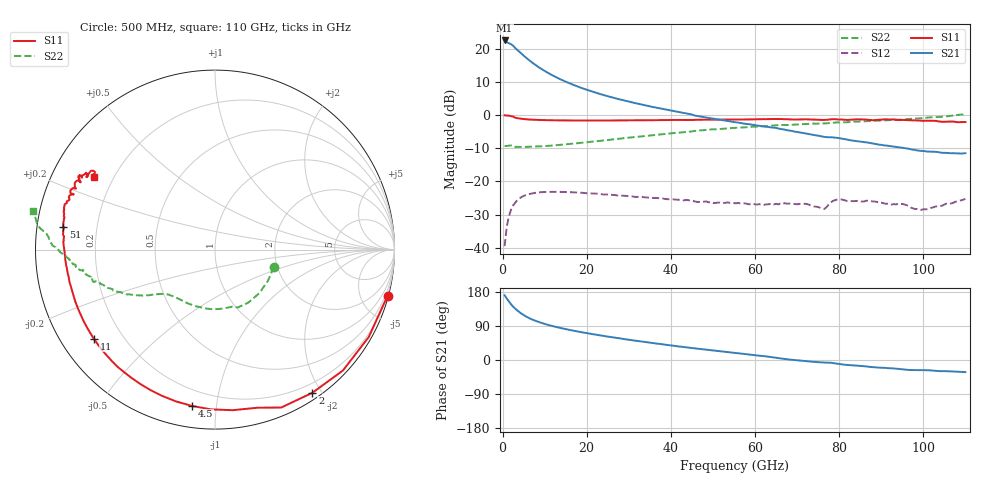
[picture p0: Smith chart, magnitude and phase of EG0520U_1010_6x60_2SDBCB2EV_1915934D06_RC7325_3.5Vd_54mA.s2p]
!File name = EG0520U_1010_6x60_2SDBCB2EV_1915934D06_RC7325_3.5Vd_54mA.s2p
!Base file name = EG0520U_1010_6x60_2SDBCB2EV_1915934D06_RC7325
!Date = 8/23/2019
!Time = 1:10 PM
!Test duration(min) = 0.15
!Test = S-Parameters
!MPTS version = 8.91.5
!State File = C:\Data\PNA\20190821205423\S-Parameters_2019-08-23.sta
!Cal File =
!ComputerName = CMPE-LAB-6
!Comments =
!Attenuation = 0
!Z0 = 50
!Input Power(dBm) = -13.00
!Device ID = EG0520U_1010_6x60_2SDBCB2EV
!Row = 73
!Column = 25
!Technology = QPHT09
!Lot/Wafer = 1915934D06
!Gate Size = 360
!Mask = EG0520
!Cal Standards = GaAs BCB
!Cal Kit = EG2306
!Job Number = 20190821205423
!Device Type = FET
!set_Vg(v) = -1.500
!set_Vd(v) = 3.500
!set_Vd(mA) = 54.000
!file_name = EG0520U_1010_6x60_2SDBCB2EV_1915934D06_RC7325_3.5Vd_54mA.s2p
!Vd(V) = 3.500
!Vd(mA) = 54.222
!Vg(V) = -0.468
!Vg(mA) = -0.001
# GHz  S  DB  R  50
!%	Freq(GHz)  s11(dB)  s11(deg)  s21(dB)  s21(deg)  s12(dB)  s12(deg)  s22(dB)  s22(deg)
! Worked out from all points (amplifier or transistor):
!   220 points, 500 MHz to 110 GHz, reference 50 ohm
!   highest |S21| = 22.5 dB at 500 MHz (marker M1)
!   |S21| within 3 dB of that: start of sweep to 3.643 GHz
!   unconditionally stable (mu >= 1): 31.8 GHz to 104.6 GHz
!   at 18.5 GHz: K = 0.55, MSG = 15.9 dB, |S12| = -23.4 dB
!   at 55.5 GHz: K = 1.60, MAG = 7.7 dB, |S12| = -26.6 dB
!   at 110 GHz: K = -1.72, MSG = 6.9 dB, |S12| = -25.3 dB
!   S11 on the Smith chart (normalised r, x): 500 MHz: 0.15, -7.59; 2 GHz: 0.08, -1.89; 4.5 GHz: 0.11, -0.86; 11 GHz: 0.10, -0.33; 51 GHz: 0.08, +0.07; 110 GHz: 0.13, +0.27
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0.5  -0.04 -15.0  22.51 170.8  -39.52 81.2  -9.31 -16.1
1  -0.13 -29.6  22.04 162.3  -33.75 73.5  -9.31 -30.7
2  -0.31 -55.8  21.41 147.4  -28.62 59.2  -9.15 -57.9
2.5  -0.41 -67.3  20.95 141.0  -27.25 53.4  -9.20 -68.6
3  -0.80 -74.9  20.25 135.9  -26.45 49.0  -9.57 -73.0
3.5  -0.91 -83.7  19.68 130.8  -25.71 44.6  -9.58 -81.0
4.5  -1.11 -98.4  18.53 122.2  -24.73 37.3  -9.57 -94.3
5.5  -1.24 -109.9  17.43 115.3  -24.13 31.7  -9.58 -104.3
7  -1.38 -122.9  15.89 107.1  -23.62 25.3  -9.51 -114.9
9  -1.47 -134.9  14.12 98.9  -23.25 19.4  -9.41 -123.5
11  -1.53 -143.7  12.60 92.1  -23.14 15.0  -9.26 -129.4
14.5  -1.60 -154.2  10.37 82.7  -23.18 9.8  -8.88 -135.7
19  -1.63 -162.8  8.09 72.9  -23.43 5.6  -8.30 -140.0
26.5  -1.60 -171.9  5.18 59.2  -24.07 2.5  -7.27 -144.5
37  -1.51 -179.9  2.12 42.8  -25.02 2.4  -5.88 -149.9
51  -1.37 171.5  -1.28 24.0  -26.41 6.9  -4.26 -158.9
55.5  -1.33 168.7  -2.16 18.5  -26.58 6.5  -3.81 -161.1
73.5  -1.33 159.2  -5.88 -4.6  -27.36 3.1  -2.56 -170.2
80  -1.34 156.5  -6.93 -10.7  -25.35 6.9  -2.19 -172.7
92  -1.32 151.3  -9.32 -21.7  -26.70 -10.1  -1.54 -178.1
99.5  -1.66 149.7  -10.77 -26.7  -28.56 -10.0  -0.92 178.8
110  -2.10 149.0  -11.49 -32.0  -25.27 -7.8  0.29 168.0
